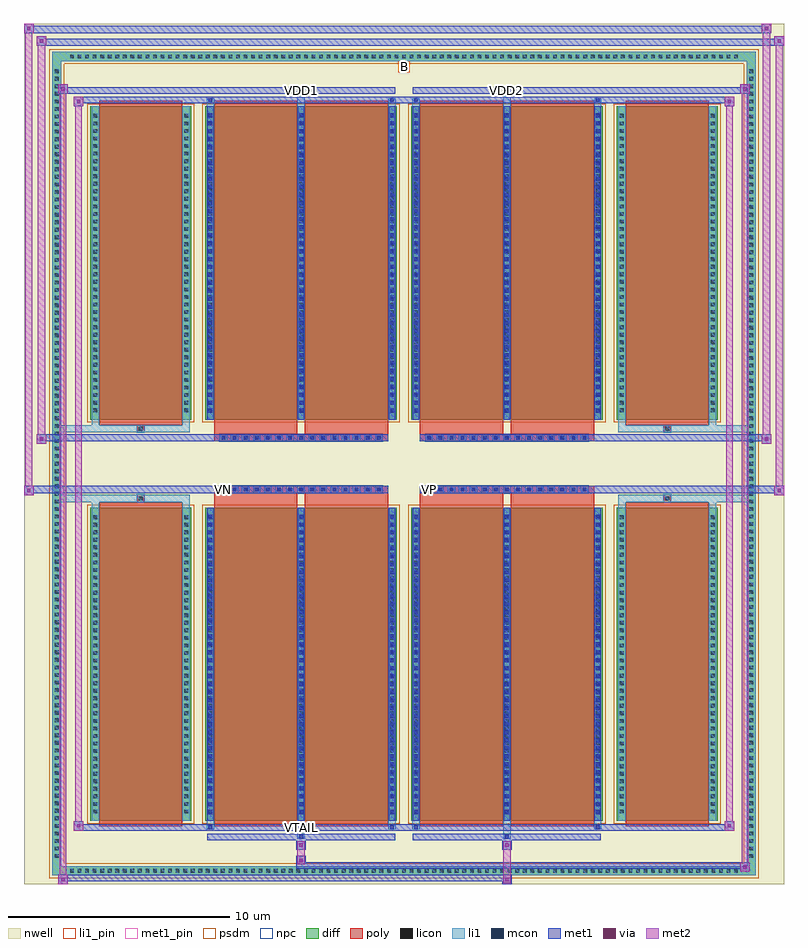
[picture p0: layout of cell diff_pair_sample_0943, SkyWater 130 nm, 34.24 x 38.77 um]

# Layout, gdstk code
import gdstk
lib = gdstk.Library(unit=1e-6, precision=5e-09)
def R(c, l, rs):  # rectangles x0, y0, x1, y1
    for r in rs: c.add(gdstk.rectangle(r[:2], r[2:], *l))
def A(c, l, x, y, w, h, nx, ny, dx, dy):  # array of equal rectangles
    R(c, l, [(x+i*dx, y+j*dy, x+i*dx+w, y+j*dy+h) for i in range(nx) for j in range(ny)])
def P(c, l, *ps):  # polygons
    for p in ps: c.add(gdstk.Polygon(p, *l))
nwell = (64, 20)
diff = (65, 20)
poly = (66, 20)
licon = (66, 44)
li1_pin = (67, 16)
li1 = (67, 20)
mcon = (67, 44)
met1_pin = (68, 16)
met1 = (68, 20)
via = (68, 44)
met2 = (69, 20)
psdm = (94, 20)
npc = (95, 20)

diff_pair_sample_0943 = lib.new_cell('diff_pair_sample_0943')
R(diff_pair_sample_0943, nwell, [(-17.12,-18.95,17.12,19.82), (-14.44,-17.14,-0.01,-0.8), (0.01,-17.14,14.44,-0.8), (-14.44,0.8,-0.01,17.14), (0.01,0.8,14.44,17.14)])
A(diff_pair_sample_0943, diff, -15.165, -18.55, 0.41, 0.41, 89, 2, 0.34, 36.69)
A(diff_pair_sample_0943, diff, -15.85, -17.885, 0.41, 0.41, 1, 105, 0, 0.34)
A(diff_pair_sample_0943, diff, 15.44, -17.885, 0.41, 0.41, 1, 105, 0, 0.34)
R(diff_pair_sample_0943, diff, [(-15.165,-18.55,15.165,-18.14), (-15.85,-17.885,-15.44,17.885), (15.44,-17.885,15.85,17.885), (-14.13,-16.095,-9.59,-1.985), (-8.95,-16.095,-0.32,-1.985), (0.32,-16.095,8.95,-1.985), (9.59,-16.095,14.13,-1.985), (-14.13,1.985,-9.59,16.095), (-8.95,1.985,-0.32,16.095), (0.32,1.985,8.95,16.095), (9.59,1.985,14.13,16.095), (-15.165,18.14,15.165,18.55)])
P(diff_pair_sample_0943, diff, [(15.85,18.55),(-15.85,18.55),(-15.85,-18.14),(-15.44,-18.14),(-15.44,18.14),(15.44,18.14),(15.44,-18.14),(-15.44,-18.14),(-15.85,-18.14),(-15.85,-18.55),(15.85,-18.55)])
A(diff_pair_sample_0943, poly, -8.3, -1.33, 0.33, 0.33, 15, 2, 0.5, 2.33)
A(diff_pair_sample_0943, poly, 0.97, -1.33, 0.33, 0.33, 15, 2, 0.5, 2.33)
R(diff_pair_sample_0943, poly, [(-13.74,-16.345,-9.98,-1.735), (-8.56,-16.345,-4.8,-1.735), (-4.47,-16.345,-0.71,-1.735), (0.71,-16.345,4.47,-1.735), (4.8,-16.345,8.56,-1.735), (9.98,-16.345,13.74,-1.735), (-12.025,-1.735,-11.695,-1.405), (-12.025,-1.735,-11.695,-1.405), (-8.56,-1.735,-4.8,-1.33), (-4.47,-1.735,-0.71,-1.33), (0.71,-1.735,4.47,-1.33), (4.8,-1.735,8.56,-1.33), (11.695,-1.735,12.025,-1.405), (11.695,-1.735,12.025,-1.405), (-8.56,-1.33,-0.71,-1), (0.71,-1.33,8.56,-1), (-8.56,1,-0.71,1.33), (0.71,1,8.56,1.33), (-8.56,1.33,-4.8,1.735), (-4.47,1.33,-0.71,1.735), (0.71,1.33,4.47,1.735), (4.8,1.33,8.56,1.735), (-12.025,1.405,-11.695,1.735), (-12.025,1.405,-11.695,1.735), (11.695,1.405,12.025,1.735), (11.695,1.405,12.025,1.735), (-13.74,1.735,-9.98,16.345), (-8.56,1.735,-4.8,16.345), (-4.47,1.735,-0.71,16.345), (0.71,1.735,4.47,16.345), (4.8,1.735,8.56,16.345), (9.98,1.735,13.74,16.345)])
A(diff_pair_sample_0943, licon, -15.045, -18.43, 0.17, 0.17, 89, 2, 0.34, 36.69)
A(diff_pair_sample_0943, licon, -15.73, -17.765, 0.17, 0.17, 1, 105, 0, 0.34)
A(diff_pair_sample_0943, licon, 15.56, -17.765, 0.17, 0.17, 1, 105, 0, 0.34)
A(diff_pair_sample_0943, licon, -13.99, -15.755, 0.17, 0.17, 1, 40, 0, 0.34)
A(diff_pair_sample_0943, licon, -9.9, -15.755, 0.17, 0.17, 1, 40, 0, 0.34)
A(diff_pair_sample_0943, licon, -8.81, -15.755, 0.17, 0.17, 3, 40, 4.09, 0.34)
A(diff_pair_sample_0943, licon, 0.46, -15.755, 0.17, 0.17, 3, 40, 4.09, 0.34)
A(diff_pair_sample_0943, licon, 9.73, -15.755, 0.17, 0.17, 1, 40, 0, 0.34)
A(diff_pair_sample_0943, licon, 13.82, -15.755, 0.17, 0.17, 1, 40, 0, 0.34)
A(diff_pair_sample_0943, licon, -8.22, -1.25, 0.17, 0.17, 15, 2, 0.5, 2.33)
A(diff_pair_sample_0943, licon, 1.05, -1.25, 0.17, 0.17, 15, 2, 0.5, 2.33)
A(diff_pair_sample_0943, licon, -13.99, 2.325, 0.17, 0.17, 1, 40, 0, 0.34)
A(diff_pair_sample_0943, licon, -9.9, 2.325, 0.17, 0.17, 1, 40, 0, 0.34)
A(diff_pair_sample_0943, licon, -8.81, 2.325, 0.17, 0.17, 3, 40, 4.09, 0.34)
A(diff_pair_sample_0943, licon, 0.46, 2.325, 0.17, 0.17, 3, 40, 4.09, 0.34)
A(diff_pair_sample_0943, licon, 9.73, 2.325, 0.17, 0.17, 1, 40, 0, 0.34)
A(diff_pair_sample_0943, licon, 13.82, 2.325, 0.17, 0.17, 1, 40, 0, 0.34)
R(diff_pair_sample_0943, licon, [(-11.945,-1.655,-11.775,-1.485), (11.775,-1.655,11.945,-1.485), (-11.945,1.485,-11.775,1.655), (11.775,1.485,11.945,1.655)])
R(diff_pair_sample_0943, li1_pin, [(-0.25,17.64,0.25,18.14)])
A(diff_pair_sample_0943, li1, -15.125, -18.51, 0.33, 0.33, 89, 2, 0.34, 36.69)
A(diff_pair_sample_0943, li1, -15.81, -17.845, 0.33, 0.33, 1, 105, 0, 0.34)
A(diff_pair_sample_0943, li1, 15.48, -17.845, 0.33, 0.33, 1, 105, 0, 0.34)
A(diff_pair_sample_0943, li1, -8.89, -16.095, 0.33, 14.11, 3, 2, 4.09, 18.08)
A(diff_pair_sample_0943, li1, 0.38, -16.095, 0.33, 14.11, 3, 2, 4.09, 18.08)
A(diff_pair_sample_0943, li1, -14.07, -15.835, 0.33, 0.33, 1, 40, 0, 0.34)
A(diff_pair_sample_0943, li1, -9.98, -15.835, 0.33, 0.33, 1, 40, 0, 0.34)
A(diff_pair_sample_0943, li1, -8.89, -15.835, 0.33, 0.33, 3, 40, 4.09, 0.34)
A(diff_pair_sample_0943, li1, 0.38, -15.835, 0.33, 0.33, 3, 40, 4.09, 0.34)
A(diff_pair_sample_0943, li1, 9.65, -15.835, 0.33, 0.33, 1, 40, 0, 0.34)
A(diff_pair_sample_0943, li1, 13.74, -15.835, 0.33, 0.33, 1, 40, 0, 0.34)
A(diff_pair_sample_0943, li1, -8.81, -15.785, 0.17, 0.17, 3, 38, 4.09, 0.36)
A(diff_pair_sample_0943, li1, -8.81, -15.785, 0.17, 13.49, 3, 2, 4.09, 18.08)
A(diff_pair_sample_0943, li1, 0.46, -15.785, 0.17, 0.17, 3, 38, 4.09, 0.36)
A(diff_pair_sample_0943, li1, 0.46, -15.785, 0.17, 13.49, 3, 2, 4.09, 18.08)
A(diff_pair_sample_0943, li1, -8.3, -1.33, 0.33, 0.33, 15, 2, 0.5, 2.33)
A(diff_pair_sample_0943, li1, 0.97, -1.33, 0.33, 0.33, 15, 2, 0.5, 2.33)
A(diff_pair_sample_0943, li1, -14.07, 2.245, 0.33, 0.33, 1, 40, 0, 0.34)
A(diff_pair_sample_0943, li1, -9.98, 2.245, 0.33, 0.33, 1, 40, 0, 0.34)
A(diff_pair_sample_0943, li1, -8.89, 2.245, 0.33, 0.33, 3, 40, 4.09, 0.34)
A(diff_pair_sample_0943, li1, 0.38, 2.245, 0.33, 0.33, 3, 40, 4.09, 0.34)
A(diff_pair_sample_0943, li1, 9.65, 2.245, 0.33, 0.33, 1, 40, 0, 0.34)
A(diff_pair_sample_0943, li1, 13.74, 2.245, 0.33, 0.33, 1, 40, 0, 0.34)
A(diff_pair_sample_0943, li1, -8.81, 2.295, 0.17, 0.17, 3, 38, 4.09, 0.36)
A(diff_pair_sample_0943, li1, 0.46, 2.295, 0.17, 0.17, 3, 38, 4.09, 0.36)
R(diff_pair_sample_0943, li1, [(-15.85,-18.55,-15.44,-18.14), (-15.85,-18.55,-15.44,-18.14), (-15.44,-18.55,15.44,-18.14), (15.44,-18.55,15.85,-18.14), (15.44,-18.55,15.85,-18.14), (-15.85,-18.14,-15.44,18.14), (15.44,-18.14,15.85,18.14), (-4.8,-16.9,-4.47,-16.095), (-4.72,-16.9,-4.55,-16.73), (4.47,-16.9,4.8,-16.095), (4.55,-16.9,4.72,-16.73), (-8.89,-16.47,-8.56,-16.095), (-8.81,-16.47,-8.64,-16.3), (-0.71,-16.47,-0.38,-16.095), (-0.63,-16.47,-0.46,-16.3), (0.38,-16.47,0.71,-16.095), (0.46,-16.47,0.63,-16.3), (8.56,-16.47,8.89,-16.095), (8.64,-16.47,8.81,-16.3), (-14.07,-16.095,-13.74,-1.985), (-9.98,-16.095,-9.65,-1.985), (9.65,-16.095,9.98,-1.985), (13.74,-16.095,14.07,-1.985), (-14.07,-1.985,-13.74,-1.405), (-9.98,-1.985,-9.65,-1.405), (9.65,-1.985,9.98,-1.405), (13.74,-1.985,14.07,-1.405), (-15.85,-1.735,-12.025,-1.405), (-14.07,-1.735,-12.025,-1.405), (-12.025,-1.735,-11.695,-1.405), (-11.695,-1.735,-9.65,-1.405), (9.65,-1.735,11.695,-1.405), (11.695,-1.735,12.025,-1.405), (11.695,-1.735,15.85,-1.405), (12.025,-1.735,14.07,-1.405), (-15.85,1.405,-12.025,1.735), (-14.07,1.405,-12.025,1.735), (-14.07,1.405,-13.74,1.985), (-12.025,1.405,-11.695,1.735), (-11.695,1.405,-9.65,1.735), (-9.98,1.405,-9.65,1.985), (9.65,1.405,11.695,1.735), (9.65,1.405,9.98,1.985), (11.695,1.405,12.025,1.735), (11.695,1.405,15.85,1.735), (12.025,1.405,14.07,1.735), (13.74,1.405,14.07,1.985), (-14.07,1.985,-13.74,16.095), (-9.98,1.985,-9.65,16.095), (9.65,1.985,9.98,16.095), (13.74,1.985,14.07,16.095), (-8.89,16.095,-8.56,16.47), (-4.8,16.095,-4.47,16.9), (-0.71,16.095,-0.38,16.47), (0.38,16.095,0.71,16.47), (4.47,16.095,4.8,16.9), (8.56,16.095,8.89,16.47), (-8.81,16.3,-8.64,16.47), (-0.63,16.3,-0.46,16.47), (0.46,16.3,0.63,16.47), (8.64,16.3,8.81,16.47), (-4.72,16.73,-4.55,16.9), (4.55,16.73,4.72,16.9), (-15.85,18.14,-15.44,18.55), (-15.85,18.14,-15.44,18.55), (-15.44,18.14,15.44,18.55), (15.44,18.14,15.85,18.55), (15.44,18.14,15.85,18.55)])
A(diff_pair_sample_0943, mcon, -8.81, -15.785, 0.17, 0.17, 3, 38, 4.09, 0.36)
A(diff_pair_sample_0943, mcon, 0.46, -15.785, 0.17, 0.17, 3, 38, 4.09, 0.36)
A(diff_pair_sample_0943, mcon, -8.22, -1.25, 0.17, 0.17, 15, 2, 0.5, 2.33)
A(diff_pair_sample_0943, mcon, 1.05, -1.25, 0.17, 0.17, 15, 2, 0.5, 2.33)
A(diff_pair_sample_0943, mcon, -8.81, 2.295, 0.17, 0.17, 3, 38, 4.09, 0.36)
A(diff_pair_sample_0943, mcon, 0.46, 2.295, 0.17, 0.17, 3, 38, 4.09, 0.36)
R(diff_pair_sample_0943, mcon, [(-4.72,-16.9,-4.55,-16.73), (4.55,-16.9,4.72,-16.73), (-8.81,-16.47,-8.64,-16.3), (-0.63,-16.47,-0.46,-16.3), (0.46,-16.47,0.63,-16.3), (8.64,-16.47,8.81,-16.3), (-8.81,16.3,-8.64,16.47), (-0.63,16.3,-0.46,16.47), (0.46,16.3,0.63,16.47), (8.64,16.3,8.81,16.47), (-4.72,16.73,-4.55,16.9), (4.55,16.73,4.72,16.9)])
R(diff_pair_sample_0943, met1_pin, [(-4.77,-16.51,-4.5,-16.24), (-8.27,-1.29,-8,-1.02), (1,-1.29,1.27,-1.02), (-4.77,16.69,-4.5,16.96), (4.5,16.69,4.77,16.96)])
A(diff_pair_sample_0943, met1, -8.87, -16.095, 0.29, 14.11, 3, 2, 4.09, 18.08)
A(diff_pair_sample_0943, met1, 0.4, -16.095, 0.29, 14.11, 3, 2, 4.09, 18.08)
A(diff_pair_sample_0943, met1, -8.87, -15.845, 0.29, 0.29, 3, 38, 4.09, 0.36)
A(diff_pair_sample_0943, met1, 0.4, -15.845, 0.29, 0.29, 3, 38, 4.09, 0.36)
A(diff_pair_sample_0943, met1, -8.28, -1.31, 0.29, 0.29, 15, 2, 0.5, 2.33)
A(diff_pair_sample_0943, met1, 0.99, -1.31, 0.29, 0.29, 15, 2, 0.5, 2.33)
A(diff_pair_sample_0943, met1, -8.87, 2.235, 0.29, 0.29, 3, 38, 4.09, 0.36)
A(diff_pair_sample_0943, met1, 0.4, 2.235, 0.29, 0.29, 3, 38, 4.09, 0.36)
R(diff_pair_sample_0943, met1, [(-15.58,-18.95,-15.15,-18.52), (4.42,-18.95,4.85,-18.52), (-15.58,-18.81,4.85,-18.52), (15.15,-18.38,15.58,-17.95), (-4.85,-18.24,15.58,-17.95), (-4.85,-18.1,-4.42,-17.67), (-4.85,-17.39,-4.42,-16.96), (4.42,-17.39,4.85,-16.96), (-8.87,-16.96,-0.4,-16.67), (-4.78,-16.96,-4.49,-16.67), (0.4,-16.96,8.87,-16.67), (4.49,-16.96,4.78,-16.67), (-14.87,-16.53,-14.44,-16.1), (-14.87,-16.53,-8.87,-16.24), (-8.87,-16.53,-8.58,-16.24), (-8.87,-16.53,-0.4,-16.24), (-0.69,-16.53,-0.4,-16.24), (-0.4,-16.53,0.4,-16.24), (0.4,-16.53,0.69,-16.24), (0.4,-16.53,8.87,-16.24), (8.58,-16.53,8.87,-16.24), (8.87,-16.53,14.87,-16.24), (14.44,-16.53,14.87,-16.1), (-17.12,-1.43,-16.69,-1), (16.69,-1.43,17.12,-1), (-17.12,-1.33,-0.71,-1), (-8.56,-1.33,-0.71,-1), (0.71,-1.33,8.56,-1), (0.71,-1.33,17.12,-1), (-16.55,0.9,-16.12,1.33), (16.12,0.9,16.55,1.33), (-16.55,1,-8.56,1.33), (-8.56,1,-0.71,1.33), (0.71,1,8.56,1.33), (8.56,1,16.55,1.33), (-14.87,16.1,-14.44,16.53), (14.44,16.1,14.87,16.53), (-14.87,16.24,-8.87,16.53), (-8.87,16.24,-8.58,16.53), (-8.87,16.24,-0.4,16.53), (-0.69,16.24,-0.4,16.53), (-0.4,16.24,0.4,16.53), (0.4,16.24,0.69,16.53), (0.4,16.24,8.87,16.53), (8.58,16.24,8.87,16.53), (8.87,16.24,14.87,16.53), (-15.58,16.67,-15.15,17.1), (-15.58,16.67,-8.87,16.96), (-8.87,16.67,-0.4,16.96), (-4.78,16.67,-4.49,16.96), (0.4,16.67,8.87,16.96), (4.49,16.67,4.78,16.96), (8.87,16.67,15.58,16.96), (15.15,16.67,15.58,17.1), (-16.55,18.82,-16.12,19.25), (-16.55,18.82,-14.44,19.15), (-14.44,18.82,14.44,19.15), (14.44,18.82,17.12,19.15), (16.69,18.82,17.12,19.25), (-17.12,19.39,-16.69,19.82), (-17.12,19.39,-14.44,19.72), (-14.44,19.39,14.44,19.72), (14.44,19.39,16.55,19.72), (16.12,19.39,16.55,19.82)])
R(diff_pair_sample_0943, via, [(-15.44,-18.81,-15.29,-18.66), (4.56,-18.81,4.71,-18.66), (15.29,-18.24,15.44,-18.09), (-4.71,-17.96,-4.56,-17.81), (-4.71,-17.25,-4.56,-17.1), (4.56,-17.25,4.71,-17.1), (-14.73,-16.39,-14.58,-16.24), (14.58,-16.39,14.73,-16.24), (-16.98,-1.29,-16.83,-1.14), (16.83,-1.29,16.98,-1.14), (-16.41,1.04,-16.26,1.19), (16.26,1.04,16.41,1.19), (-14.73,16.24,-14.58,16.39), (14.58,16.24,14.73,16.39), (-15.44,16.81,-15.29,16.96), (15.29,16.81,15.44,16.96), (-16.41,18.96,-16.26,19.11), (16.83,18.96,16.98,19.11), (-16.98,19.53,-16.83,19.68), (16.26,19.53,16.41,19.68)])
R(diff_pair_sample_0943, met2, [(-15.58,-18.95,-15.15,-18.52), (-15.51,-18.95,-15.22,17.1), (-15.22,-18.95,-15.15,-18.52), (-15.53,-18.9,-15.2,-18.57), (4.47,-18.9,4.8,-18.57), (4.47,-18.57,4.8,-17.34), (15.15,-18.38,15.58,-17.95), (15.22,-18.38,15.51,17.1), (15.51,-18.38,15.58,-17.95), (15.2,-18.33,15.53,-18), (-4.8,-18.05,-4.47,-17.72), (-4.8,-17.72,-4.47,-17.34), (-4.8,-17.34,-4.47,-17.01), (4.47,-17.34,4.8,-17.01), (-14.87,-16.53,-14.44,-16.1), (-14.8,-16.53,-14.51,16.53), (-14.51,-16.53,-14.44,-16.1), (14.44,-16.53,14.87,-16.1), (14.51,-16.53,14.8,16.53), (14.8,-16.53,14.87,-16.1), (-14.82,-16.48,-14.49,-16.15), (14.49,-16.48,14.82,-16.15), (-17.12,-1.43,-16.69,-1), (-17.07,-1.43,-16.74,19.82), (-16.74,-1.43,-16.69,-1), (16.69,-1.43,17.12,-1), (16.74,-1.43,17.07,19.25), (17.07,-1.43,17.12,-1), (-17.07,-1.38,-16.74,-1.05), (16.74,-1.38,17.07,-1.05), (-16.55,0.9,-16.12,1.33), (-16.5,0.9,-16.17,19.25), (-16.17,0.9,-16.12,1.33), (16.12,0.9,16.55,1.33), (16.17,0.9,16.5,19.82), (16.5,0.9,16.55,1.33), (-16.5,0.95,-16.17,1.28), (16.17,0.95,16.5,1.28), (-14.87,16.1,-14.44,16.53), (-14.51,16.1,-14.44,16.53), (14.44,16.1,14.87,16.53), (14.8,16.1,14.87,16.53), (-14.82,16.15,-14.49,16.48), (14.49,16.15,14.82,16.48), (-15.58,16.67,-15.15,17.1), (-15.22,16.67,-15.15,17.1), (15.15,16.67,15.58,17.1), (15.51,16.67,15.58,17.1), (-15.53,16.72,-15.2,17.05), (15.2,16.72,15.53,17.05), (-16.55,18.82,-16.12,19.25), (-16.17,18.82,-16.12,19.25), (16.69,18.82,17.12,19.25), (17.07,18.82,17.12,19.25), (-16.5,18.87,-16.17,19.2), (16.74,18.87,17.07,19.2), (-17.12,19.39,-16.69,19.82), (-16.74,19.39,-16.69,19.82), (16.12,19.39,16.55,19.82), (16.5,19.39,16.55,19.82), (-17.07,19.44,-16.74,19.77), (16.17,19.44,16.5,19.77)])
R(diff_pair_sample_0943, psdm, [(-14.26,-16.225,-9.46,-1.855), (-9.08,-16.225,-0.19,-1.855), (0.19,-16.225,9.08,-1.855), (9.46,-16.225,14.26,-1.855), (-14.26,1.855,-9.46,16.225), (-9.08,1.855,-0.19,16.225), (0.19,1.855,9.08,16.225), (9.46,1.855,14.26,16.225)])
P(diff_pair_sample_0943, psdm, [(15.98,18.68),(-15.98,18.68),(-15.98,-18.01),(-15.31,-18.01),(-15.31,18.01),(15.31,18.01),(15.31,-18.01),(-15.31,-18.01),(-15.98,-18.01),(-15.98,-18.68),(15.98,-18.68)])
A(diff_pair_sample_0943, npc, -8.32, -1.35, 0.37, 0.37, 15, 2, 0.5, 2.33)
A(diff_pair_sample_0943, npc, 0.95, -1.35, 0.37, 0.37, 15, 2, 0.5, 2.33)
R(diff_pair_sample_0943, npc, [(-12.045,-1.755,-11.675,-1.385), (11.675,-1.755,12.045,-1.385), (-8.32,-1.35,-7.45,-0.98), (-8.32,-1.35,-7.45,-0.98), (-7.82,-1.35,-6.95,-0.98), (-7.82,-1.35,-6.95,-0.98), (-7.32,-1.35,-6.45,-0.98), (-7.32,-1.35,-6.45,-0.98), (-6.82,-1.35,-5.95,-0.98), (-6.82,-1.35,-5.95,-0.98), (-6.32,-1.35,-5.45,-0.98), (-6.32,-1.35,-5.45,-0.98), (-5.82,-1.35,-4.95,-0.98), (-5.82,-1.35,-4.95,-0.98), (-5.32,-1.35,-4.45,-0.98), (-5.32,-1.35,-4.45,-0.98), (-4.82,-1.35,-3.95,-0.98), (-4.82,-1.35,-3.95,-0.98), (-4.32,-1.35,-3.45,-0.98), (-4.32,-1.35,-3.45,-0.98), (-3.82,-1.35,-2.95,-0.98), (-3.82,-1.35,-2.95,-0.98), (-3.32,-1.35,-2.45,-0.98), (-3.32,-1.35,-2.45,-0.98), (-2.82,-1.35,-1.95,-0.98), (-2.82,-1.35,-1.95,-0.98), (-2.32,-1.35,-1.45,-0.98), (-2.32,-1.35,-1.45,-0.98), (-1.82,-1.35,-0.95,-0.98), (-1.82,-1.35,-0.95,-0.98), (0.95,-1.35,1.82,-0.98), (0.95,-1.35,1.82,-0.98), (1.45,-1.35,2.32,-0.98), (1.45,-1.35,2.32,-0.98), (1.95,-1.35,2.82,-0.98), (1.95,-1.35,2.82,-0.98), (2.45,-1.35,3.32,-0.98), (2.45,-1.35,3.32,-0.98), (2.95,-1.35,3.82,-0.98), (2.95,-1.35,3.82,-0.98), (3.45,-1.35,4.32,-0.98), (3.45,-1.35,4.32,-0.98), (3.95,-1.35,4.82,-0.98), (3.95,-1.35,4.82,-0.98), (4.45,-1.35,5.32,-0.98), (4.45,-1.35,5.32,-0.98), (4.95,-1.35,5.82,-0.98), (4.95,-1.35,5.82,-0.98), (5.45,-1.35,6.32,-0.98), (5.45,-1.35,6.32,-0.98), (5.95,-1.35,6.82,-0.98), (5.95,-1.35,6.82,-0.98), (6.45,-1.35,7.32,-0.98), (6.45,-1.35,7.32,-0.98), (6.95,-1.35,7.82,-0.98), (6.95,-1.35,7.82,-0.98), (7.45,-1.35,8.32,-0.98), (7.45,-1.35,8.32,-0.98), (-8.32,0.98,-7.45,1.35), (-8.32,0.98,-7.45,1.35), (-7.82,0.98,-6.95,1.35), (-7.82,0.98,-6.95,1.35), (-7.32,0.98,-6.45,1.35), (-7.32,0.98,-6.45,1.35), (-6.82,0.98,-5.95,1.35), (-6.82,0.98,-5.95,1.35), (-6.32,0.98,-5.45,1.35), (-6.32,0.98,-5.45,1.35), (-5.82,0.98,-4.95,1.35), (-5.82,0.98,-4.95,1.35), (-5.32,0.98,-4.45,1.35), (-5.32,0.98,-4.45,1.35), (-4.82,0.98,-3.95,1.35), (-4.82,0.98,-3.95,1.35), (-4.32,0.98,-3.45,1.35), (-4.32,0.98,-3.45,1.35), (-3.82,0.98,-2.95,1.35), (-3.82,0.98,-2.95,1.35), (-3.32,0.98,-2.45,1.35), (-3.32,0.98,-2.45,1.35), (-2.82,0.98,-1.95,1.35), (-2.82,0.98,-1.95,1.35), (-2.32,0.98,-1.45,1.35), (-2.32,0.98,-1.45,1.35), (-1.82,0.98,-0.95,1.35), (-1.82,0.98,-0.95,1.35), (0.95,0.98,1.82,1.35), (0.95,0.98,1.82,1.35), (1.45,0.98,2.32,1.35), (1.45,0.98,2.32,1.35), (1.95,0.98,2.82,1.35), (1.95,0.98,2.82,1.35), (2.45,0.98,3.32,1.35), (2.45,0.98,3.32,1.35), (2.95,0.98,3.82,1.35), (2.95,0.98,3.82,1.35), (3.45,0.98,4.32,1.35), (3.45,0.98,4.32,1.35), (3.95,0.98,4.82,1.35), (3.95,0.98,4.82,1.35), (4.45,0.98,5.32,1.35), (4.45,0.98,5.32,1.35), (4.95,0.98,5.82,1.35), (4.95,0.98,5.82,1.35), (5.45,0.98,6.32,1.35), (5.45,0.98,6.32,1.35), (5.95,0.98,6.82,1.35), (5.95,0.98,6.82,1.35), (6.45,0.98,7.32,1.35), (6.45,0.98,7.32,1.35), (6.95,0.98,7.82,1.35), (6.95,0.98,7.82,1.35), (7.45,0.98,8.32,1.35), (7.45,0.98,8.32,1.35), (-12.045,1.385,-11.675,1.755), (11.675,1.385,12.045,1.755)])
diff_pair_sample_0943.add(gdstk.Label('VTAIL', (-4.635,-16.375), layer=68, texttype=5))
diff_pair_sample_0943.add(gdstk.Label('VN', (-8.135,-1.155), layer=68, texttype=5))
diff_pair_sample_0943.add(gdstk.Label('VP', (1.135,-1.155), layer=68, texttype=5))
diff_pair_sample_0943.add(gdstk.Label('B', (0,17.89), layer=67, texttype=5))
diff_pair_sample_0943.add(gdstk.Label('VDD2', (4.635,16.825), layer=68, texttype=5))
diff_pair_sample_0943.add(gdstk.Label('VDD1', (-4.635,16.825), layer=68, texttype=5))

lib.write_gds('diff_pair_sample_0943.gds')
